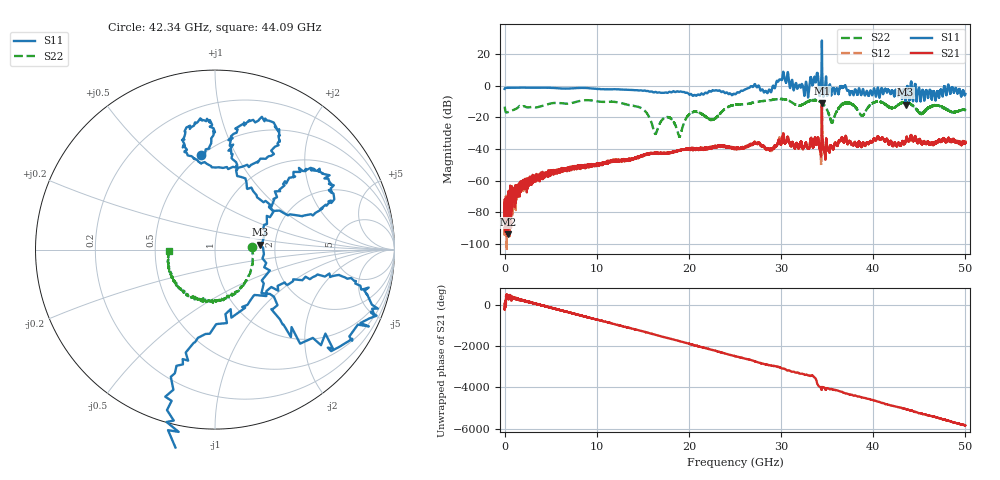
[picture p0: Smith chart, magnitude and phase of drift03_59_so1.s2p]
!Created with skrf (http://scikit-rf.org).
# Hz S RI R 50.0
!freq ReS11 ImS11 ReS21 ImS21 ReS12 ImS12 ReS22 ImS22
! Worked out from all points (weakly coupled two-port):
!   10000 points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, 5.3 MHz to 50 GHz, reference 50 ohm
!   highest |S21| = -11.12 dB at 34.43 GHz (marker M1); lowest = -94.0 dB at 355.3 MHz (marker M2)
!   lowest |S11| = -12.0 dB at 43.52 GHz (marker M3), VSWR 1.67, Z = 83.1 + j4.84 ohm
!   |S11| at or under -10 dB: 43.48711 GHz to 43.54358 GHz (56.47 MHz wide, 0.13 % of centre); 43.54868 GHz to 43.55113 GHz (2.449 MHz wide, 0.00562 % of centre); 44.70928 GHz to 44.71128 GHz (1.997 MHz wide, 0.00447 % of centre) (the widest 3 of 4)
!   |S22| runs from -32.4 to -8.4 dB; largest |S21 - S12| = 0.083
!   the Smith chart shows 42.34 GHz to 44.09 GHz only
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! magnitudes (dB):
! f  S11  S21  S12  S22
! 5.3 MHz  -2.1  -84.2  -75.3  -13.3
! 355.3 MHz  -1.4  -94.0  -71.2  -16.8
! 2.945 GHz  -1.4  -58.3  -62.7  -13.5
! 8.34 GHz  -1.5  -51.5  -51.7  -9.5
! 14.57 GHz  -3.1  -45.1  -45.2  -13.6
! 16.67 GHz  -4.4  -43.2  -42.7  -26.3
! 17.79 GHz  -4.3  -42.4  -42.7  -20.0
! 19 GHz  -3.9  -40.8  -41.0  -32.2
! 20.29 GHz  -5.5  -39.6  -40.0  -17.1
! 22.57 GHz  -3.2  -39.4  -39.6  -21.4
! 25.01 GHz  -5.5  -39.6  -39.7  -12.2
! 28.72 GHz  -2.5  -40.1  -40.4  -9.4
! 30.14 GHz  4.4  -33.5  -33.9  -8.5
! 33.34 GHz  2.6  -34.7  -35.1  -9.3
! 34.43 GHz  28.5  -11.1  -12.7  -10.8
! 35.52 GHz  -3.6  -38.6  -38.5  -23.1
! 36.95 GHz  0.2  -32.8  -33.1  -11.1
! 38.78 GHz  -4.7  -37.5  -37.8  -19.1
! 40.19 GHz  -3.7  -34.1  -34.3  -10.5
! 41.67 GHz  -2.9  -36.9  -36.8  -13.3
! 43.52 GHz  -12.0  -35.2  -35.3  -10.8
! 50 GHz  -5.3  -35.5  -36.0  -15.5
